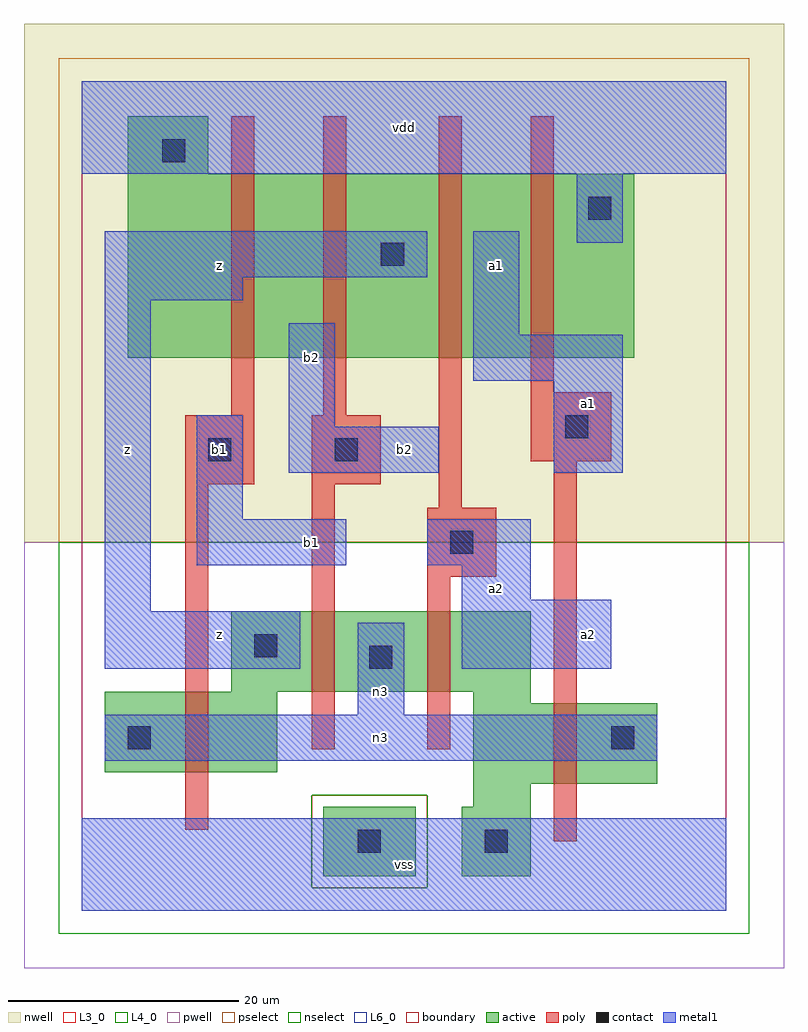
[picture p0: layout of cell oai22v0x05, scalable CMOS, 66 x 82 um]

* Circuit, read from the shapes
.subckt oai22v0x05 a1 a2 b1 b2 n3 vdd vss z
M1 z b1 n3 vss nfet w=7u l=2u
M2 n3 b2 z vss nfet w=7u l=2u
M3 vss a2 n3 vss nfet w=7u l=2u
M4 n3 a1 vss vss nfet w=7u l=2u
M5 n1 b1 vdd n2 pfet w=16u l=2u
M6 z b2 n1 n2 pfet w=16u l=2u
M7 n4 a2 z n2 pfet w=16u l=2u
M8 vdd a1 n4 n2 pfet w=16u l=2u
.ends

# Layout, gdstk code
import gdstk
lib = gdstk.Library(unit=1e-6, precision=1e-09)
def R(c, l, rs):  # rectangles x0, y0, x1, y1
    for r in rs: c.add(gdstk.rectangle(r[:2], r[2:], *l))
L3_0 = (3, 0)
L4_0 = (4, 0)
L6_0 = (6, 0)
contact = (25, 0)
pwell = (41, 0)
nwell = (42, 0)
active = (43, 0)
pselect = (44, 0)
nselect = (45, 0)
poly = (46, 0)
metal1 = (49, 0)
boundary = (63, 0)

oai22v0x05 = lib.new_cell('oai22v0x05')
R(oai22v0x05, L3_0, [(33,3,39,9), (34,9,39,11), (34,11,50,18), (2,12,17,19), (34,18,39,19), (13,19,39,26)])
R(oai22v0x05, L4_0, [(4,48,48,64), (4,64,11,69)])
R(oai22v0x05, L6_0, [(21,3,29,9)])
R(oai22v0x05, contact, [(24,5,26,7), (35,5,37,7), (4,14,6,16), (46,14,48,16), (25,21,27,23), (15,22,17,24), (32,31,34,33), (11,39,13,41), (22,39,24,41), (42,41,44,43), (26,56,28,58), (44,60,46,62), (7,65,9,67)])
R(oai22v0x05, pwell, [(-5,-5,61,32)])
R(oai22v0x05, nwell, [(-5,32,61,77)])
R(oai22v0x05, active, [(21,3,29,9), (33,3,39,9), (34,9,39,11), (34,11,50,18), (2,12,17,19), (34,18,39,19), (13,19,39,26), (4,48,48,64), (4,64,11,69)])
R(oai22v0x05, pselect, [(20,2,30,10), (-2,32,58,74)])
R(oai22v0x05, nselect, [(-2,-2,58,2), (-2,2,20,10), (30,2,58,10), (-2,10,58,32)])
R(oai22v0x05, poly, [(41,6,43,39), (9,7,11,37), (20,14,22,37), (30,14,32,29), (30,29,36,35), (31,35,33,69), (9,37,15,43), (20,37,26,43), (39,39,46,45), (13,43,15,69), (21,43,23,69), (39,45,41,69)])
R(oai22v0x05, metal1, [(0,0,56,8), (2,13,50,17), (24,17,28,25), (2,21,19,26), (33,21,46,27), (2,26,6,53), (33,27,39,30), (10,30,23,34), (30,30,39,34), (10,34,14,43), (18,38,31,42), (41,38,47,46), (18,42,22,51), (34,46,47,50), (34,50,38,59), (2,53,14,55), (2,55,30,59), (43,58,47,64), (0,64,56,72)])
R(oai22v0x05, boundary, [(0,0,56,72)])
oai22v0x05.add(gdstk.Label('n3', (26,19), layer=49, texttype=0))
oai22v0x05.add(gdstk.Label('n3', (26,15), layer=49, texttype=0))
oai22v0x05.add(gdstk.Label('z', (4,40), layer=49, texttype=0))
oai22v0x05.add(gdstk.Label('z', (12,24), layer=49, texttype=0))
oai22v0x05.add(gdstk.Label('b1', (20,32), layer=49, texttype=0))
oai22v0x05.add(gdstk.Label('b1', (12,40), layer=49, texttype=0))
oai22v0x05.add(gdstk.Label('b2', (20,48), layer=49, texttype=0))
oai22v0x05.add(gdstk.Label('z', (12,56), layer=49, texttype=0))
oai22v0x05.add(gdstk.Label('vss', (28,4), layer=49, texttype=0))
oai22v0x05.add(gdstk.Label('a2', (36,28), layer=49, texttype=0))
oai22v0x05.add(gdstk.Label('b2', (28,40), layer=49, texttype=0))
oai22v0x05.add(gdstk.Label('a1', (36,56), layer=49, texttype=0))
oai22v0x05.add(gdstk.Label('vdd', (28,68), layer=49, texttype=0))
oai22v0x05.add(gdstk.Label('a2', (44,24), layer=49, texttype=0))
oai22v0x05.add(gdstk.Label('a1', (44,44), layer=49, texttype=0))

lib.write_gds('oai22v0x05.gds')
